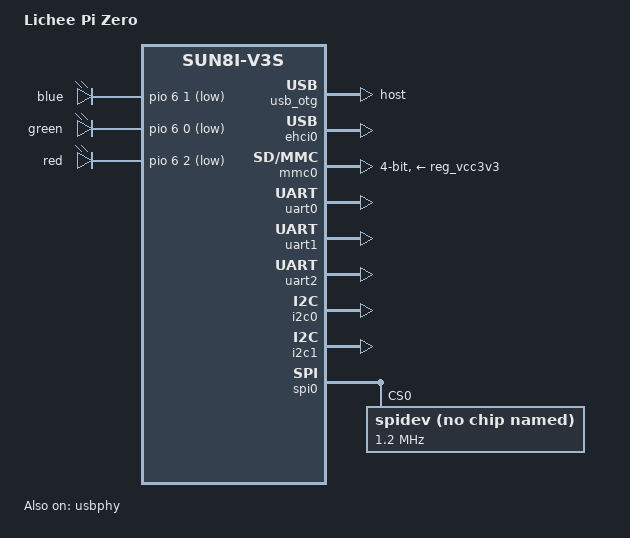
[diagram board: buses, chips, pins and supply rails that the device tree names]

/dts-v1/;
#include "sun8i-v3s.dtsi"
#include "sunxi-common-regulators.dtsi"

/ {
	model = "Lichee Pi Zero";
	compatible = "licheepi,licheepi-zero", "allwinner,sun8i-v3s";

	aliases {
		serial0 = &uart0;
	};

	chosen {
		stdout-path = "serial0:115200n8";
	};

	leds {
		compatible = "gpio-leds";

		blue_led {
			label = "blue";
			gpios = <&pio 6 1 GPIO_ACTIVE_LOW>; /* PG1 */
		};

		green_led {
			label = "green";
			gpios = <&pio 6 0 GPIO_ACTIVE_LOW>; /* PG0 */
			default-state = "on";
		};

		red_led {
			label = "red";
			gpios = <&pio 6 2 GPIO_ACTIVE_LOW>; /* PG2 */
		};
	};
};

&usb_otg {
	dr_mode = "host";
	status = "okay";
};

&usbphy {
	usb0_id_det = <&pio 5 6 GPIO_ACTIVE_HIGH>;
	status = "okay";
};

&ehci0 {
	status = "okay";
};

&mmc0 {
	broken-cd;
	bus-width = <4>;
	vmmc-supply = <&reg_vcc3v3>;
	status = "okay";
};

&uart0 {
	pinctrl-0 = <&uart0_pb_pins>;
	pinctrl-names = "default";
	status = "okay";
};

&uart1 {
	pinctrl-0 = <&uart1_pins>;
	pinctrl-names = "default";
	status = "okay";
};

&uart2 {
	status = "okay";
};

&i2c0 {
	status = "okay";
};

&i2c1 {
	status = "okay";
};

&spi0 {
	status = "okay";
	spidev@0x00 {
		compatible = "spidev";
		spi-max-frequency = <1200000>;
		reg = <0>;
	};
};
